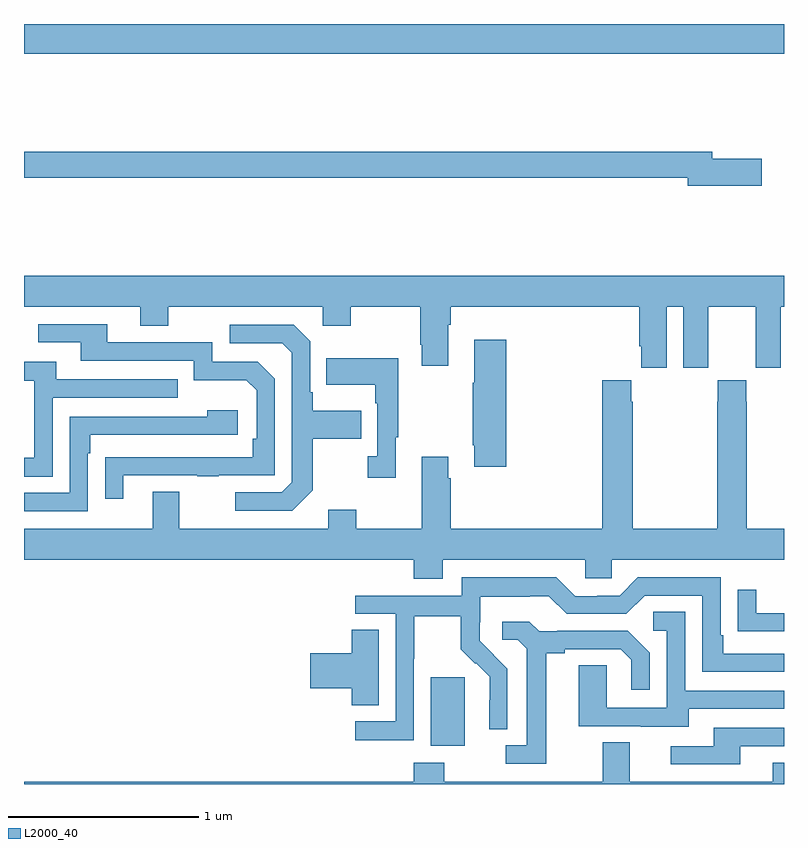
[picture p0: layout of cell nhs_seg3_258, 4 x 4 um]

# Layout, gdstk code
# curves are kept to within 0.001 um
import gdstk
lib = gdstk.Library(unit=1e-6, precision=1e-09)
def R(c, l, rs):  # rectangles x0, y0, x1, y1
    for r in rs: c.add(gdstk.rectangle(r[:2], r[2:], *l))
def P(c, l, *ps):  # polygons
    for p in ps: c.add(gdstk.Polygon(p, *l))
L2000_40 = (2000, 40)

nhs_seg3_258 = lib.new_cell('nhs_seg3_258')
R(nhs_seg3_258, L2000_40, [(125.141,702.602,125.32,702.963), (123,706.244,127,706.4)])
P(nhs_seg3_258, L2000_40, [(126.883,705.692),(126.622,705.692),(126.622,705.728),(123,705.728),(123,705.592),(126.494,705.592),(126.494,705.55),(126.883,705.55)],
  [(126.382,704.912),(126.47,704.912),(126.47,704.592),(126.6,704.592),(126.6,704.704),(126.601,704.704),(126.601,704.912),(126.851,704.912),(126.851,704.704),(126.852,704.704),(126.852,704.592),(126.982,704.592),(126.982,704.912),(127,704.912),(127,705.076),(123,705.076),(123,704.912),(123.611,704.912),(123.611,704.813),(123.759,704.813),(123.759,704.912),(124.572,704.912),(124.572,704.813),(124.719,704.813),(124.719,704.912),(125.086,704.912),(125.086,704.713),(125.093,704.713),(125.093,704.601),(125.233,704.601),(125.233,704.816),(125.246,704.816),(125.246,704.912),(126.239,704.912),(126.239,704.704),(126.248,704.704),(126.248,704.592),(126.382,704.592)],
  [(123.523,704.025),(123.913,704.025),(123.913,704.02),(124.025,704.02),(124.025,704.025),(124.32,704.025),(124.32,704.532),(124.23,704.622),(123.99,704.622),(123.99,704.724),(123.439,704.724),(123.439,704.82),(123.075,704.82),(123.075,704.724),(123.299,704.724),(123.299,704.628),(123.894,704.628),(123.894,704.525),(124.171,704.525),(124.224,704.472),(124.224,704.218),(124.204,704.218),(124.204,704.121),(123.427,704.12),(123.427,703.902),(123.523,703.902)],
  [(124.519,703.945),(124.519,704.218),(124.775,704.218),(124.775,704.365),(124.519,704.365),(124.519,704.461),(124.506,704.461),(124.506,704.73),(124.419,704.817),(124.083,704.817),(124.083,704.721),(124.359,704.721),(124.41,704.67),(124.41,703.989),(124.356,703.935),(124.113,703.935),(124.113,703.839),(124.413,703.839)],
  [(125.537,704.737),(125.369,704.737),(125.369,704.513),(125.362,704.513),(125.362,704.182),(125.369,704.182),(125.369,704.07),(125.537,704.07)],
  [(124.957,704.225),(124.969,704.225),(124.969,704.641),(124.591,704.641),(124.591,704.501),(124.848,704.501),(124.848,704.405),(124.86,704.405),(124.86,704.126),(124.809,704.126),(124.809,704.013),(124.957,704.013)],
  [(123.15,704.433),(123.809,704.433),(123.809,704.529),(123.169,704.529),(123.169,704.623),(123,704.623),(123,704.523),(123.054,704.523),(123.054,704.118),(123,704.118),(123,704.017),(123.15,704.017)],
  [(125.203,703.58),(125.955,703.58),(125.955,703.482),(126.093,703.482),(126.093,703.58),(127,703.58),(127,703.744),(126.804,703.744),(126.804,704.411),(126.801,704.411),(126.801,704.524),(126.651,704.524),(126.651,704.411),(126.649,704.411),(126.649,703.744),(126.204,703.744),(126.204,704.411),(126.197,704.411),(126.197,704.524),(126.044,704.524),(126.044,703.744),(125.246,703.744),(125.246,704.009),(125.233,704.009),(125.233,704.122),(125.093,704.122),(125.093,703.744),(124.749,703.744),(124.749,703.843),(124.601,703.843),(124.601,703.744),(123.817,703.744),(123.817,703.939),(123.677,703.939),(123.677,703.744),(123,703.744),(123,703.58),(125.051,703.58),(125.051,703.481),(125.203,703.481)],
  [(123.336,704.141),(123.349,704.141),(123.349,704.238),(124.126,704.238),(124.126,704.368),(123.965,704.368),(123.965,704.334),(123.24,704.334),(123.24,703.932),(123,703.932),(123,703.836),(123.336,703.836)],
  [(125.052,703.06),(125.055,703.06),(125.055,703.284),(125.299,703.284),(125.299,703.109),(125.376,703.032),(125.379,703.035),(125.45,702.965),(125.45,702.842),(125.448,702.842),(125.448,702.688),(125.544,702.688),(125.544,703.006),(125.398,703.154),(125.398,703.251),(125.4,703.251),(125.4,703.385),(125.663,703.385),(125.663,703.389),(125.763,703.389),(125.856,703.296),(126.171,703.296),(126.267,703.392),(126.57,703.392),(126.57,702.99),(127,702.99),(127,703.086),(126.679,703.086),(126.679,703.183),(126.666,703.183),(126.666,703.488),(126.231,703.488),(126.135,703.392),(126.017,703.392),(126.017,703.389),(125.901,703.389),(125.801,703.489),(125.304,703.489),(125.304,703.392),(124.743,703.392),(124.743,703.296),(124.956,703.296),(124.956,702.729),(124.743,702.729),(124.743,702.631),(125.052,702.631)],
  [(127,703.299),(126.853,703.299),(126.853,703.423),(126.757,703.423),(126.757,703.204),(126.859,703.204),(126.859,703.203),(127,703.203)],
  [(126.499,702.795),(127,702.795),(127,702.891),(126.48,702.891),(126.48,703.307),(126.312,703.307),(126.312,703.206),(126.384,703.206),(126.384,702.801),(126.066,702.801),(126.066,703.025),(125.921,703.025),(125.921,702.705),(126.245,702.705),(126.245,702.701),(126.499,702.701)],
  [(125.749,703.088),(125.845,703.088),(125.845,703.11),(126.14,703.11),(126.197,703.053),(126.197,702.897),(126.294,702.897),(126.294,703.09),(126.178,703.206),(125.806,703.206),(125.806,703.203),(125.712,703.203),(125.66,703.255),(125.517,703.255),(125.517,703.158),(125.598,703.158),(125.645,703.111),(125.645,702.603),(125.535,702.603),(125.535,702.507),(125.749,702.507)],
  [(124.867,703.211),(124.724,703.211),(124.724,703.088),(124.506,703.088),(124.506,702.905),(124.724,702.905),(124.724,702.814),(124.867,702.814)],
  [(126.769,702.6),(127,702.6),(127,702.696),(126.629,702.696),(126.629,702.6),(126.405,702.6),(126.405,702.504),(126.769,702.504)],
  [(127,702.511),(126.941,702.511),(126.941,702.412),(126.187,702.412),(126.187,702.62),(126.047,702.62),(126.047,702.412),(125.211,702.412),(125.211,702.511),(125.051,702.511),(125.051,702.412),(123,702.412),(123,702.4),(127,702.4)])

lib.write_gds('nhs_seg3_258.gds')
